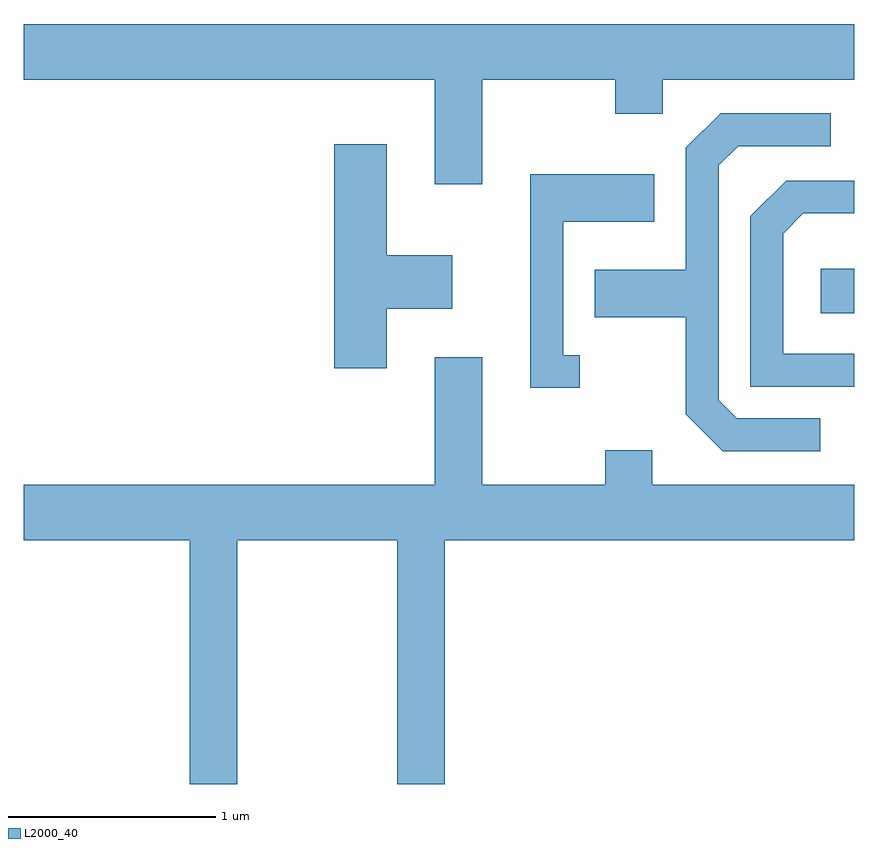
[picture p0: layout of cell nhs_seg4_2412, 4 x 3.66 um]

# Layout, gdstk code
import gdstk
lib = gdstk.Library(unit=1e-6, precision=1e-09)
def R(c, l, rs):  # rectangles x0, y0, x1, y1
    for r in rs: c.add(gdstk.rectangle(r[:2], r[2:], *l))
def P(c, l, *ps):  # polygons
    for p in ps: c.add(gdstk.Polygon(p, *l))
L2000_40 = (2000, 40)

nhs_seg4_2412 = lib.new_cell('nhs_seg4_2412')
R(nhs_seg4_2412, L2000_40, [(259.451,1320.251,259.611,1320.464)])
P(nhs_seg4_2412, L2000_40, [(257.819,1321.376),(258.461,1321.376),(258.461,1321.211),(258.689,1321.211),(258.689,1321.376),(259.611,1321.376),(259.611,1321.644),(255.611,1321.644),(255.611,1321.376),(257.591,1321.376),(257.591,1320.871),(257.819,1320.871)],
  [(259.448,1319.744),(259.046,1319.744),(258.959,1319.832),(258.959,1320.964),(259.052,1321.056),(259.498,1321.056),(259.498,1321.214),(258.969,1321.214),(258.801,1321.047),(258.801,1320.459),(258.361,1320.459),(258.361,1320.231),(258.801,1320.231),(258.801,1319.764),(258.979,1319.586),(259.448,1319.586)],
  [(257.359,1320.271),(257.674,1320.271),(257.674,1320.529),(257.359,1320.529),(257.359,1321.064),(257.106,1321.064),(257.106,1319.986),(257.359,1319.986)],
  [(258.288,1320.049),(258.209,1320.049),(258.209,1320.691),(258.649,1320.691),(258.649,1320.919),(258.051,1320.919),(258.051,1319.891),(258.288,1319.891)],
  [(259.611,1320.054),(259.269,1320.054),(259.269,1320.634),(259.367,1320.731),(259.611,1320.731),(259.611,1320.889),(259.284,1320.889),(259.111,1320.717),(259.111,1319.896),(259.611,1319.896)],
  [(256.639,1319.156),(257.411,1319.156),(257.411,1317.982),(257.639,1317.982),(257.639,1319.156),(259.611,1319.156),(259.611,1319.424),(258.639,1319.424),(258.639,1319.589),(258.411,1319.589),(258.411,1319.424),(257.819,1319.424),(257.819,1320.039),(257.591,1320.039),(257.591,1319.424),(255.611,1319.424),(255.611,1319.156),(256.411,1319.156),(256.411,1317.982),(256.639,1317.982)])

lib.write_gds('nhs_seg4_2412.gds')
